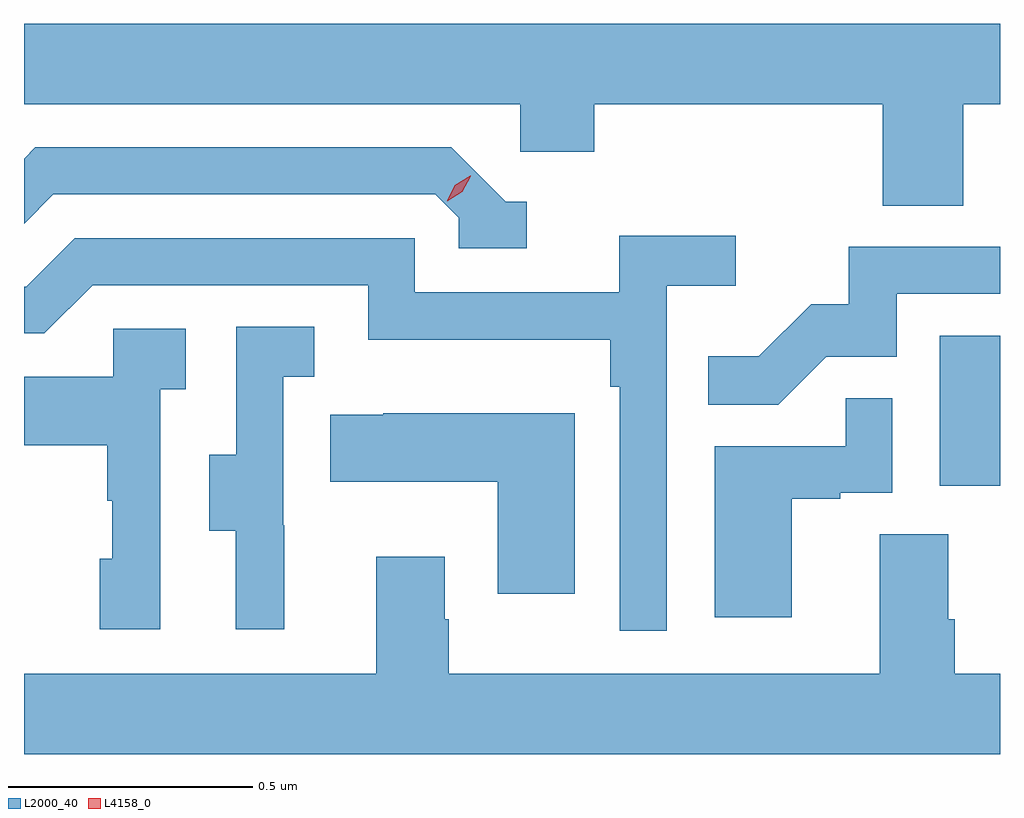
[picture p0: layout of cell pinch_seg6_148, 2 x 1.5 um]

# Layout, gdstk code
import gdstk
lib = gdstk.Library(unit=1e-6, precision=1e-09)
def R(c, l, rs):  # rectangles x0, y0, x1, y1
    for r in rs: c.add(gdstk.rectangle(r[:2], r[2:], *l))
def P(c, l, *ps):  # polygons
    for p in ps: c.add(gdstk.Polygon(p, *l))
L2000_40 = (2000, 40)
L4158_0 = (4158, 0)

pinch_seg6_148 = lib.new_cell('pinch_seg6_148')
R(pinch_seg6_148, L2000_40, [(985.652,918.582,985.775,918.889)])
P(pinch_seg6_148, L2000_40, [(985.7,919.364),(985.775,919.364),(985.775,919.528),(983.775,919.528),(983.775,919.364),(984.792,919.364),(984.792,919.266),(984.944,919.266),(984.944,919.364),(985.535,919.364),(985.535,919.156),(985.7,919.156)],
  [(984.805,919.164),(984.762,919.164),(984.651,919.275),(983.798,919.275),(983.775,919.252),(983.775,919.119),(983.835,919.179),(984.618,919.179),(984.666,919.131),(984.666,919.068),(984.805,919.068)],
  [(985.092,918.992),(985.234,918.992),(985.234,919.094),(984.995,919.094),(984.995,918.978),(984.576,918.978),(984.576,919.089),(983.879,919.089),(983.78,918.99),(983.775,918.99),(983.775,918.894),(983.817,918.894),(983.916,918.993),(984.48,918.993),(984.48,918.881),(984.976,918.881),(984.976,918.785),(984.996,918.785),(984.996,918.285),(985.092,918.285)],
  [(985.419,918.846),(985.563,918.846),(985.563,918.975),(985.775,918.975),(985.775,919.071),(985.465,919.071),(985.465,918.954),(985.388,918.954),(985.281,918.847),(985.177,918.847),(985.177,918.748),(985.321,918.748)],
  [(984.308,918.501),(984.306,918.501),(984.306,918.805),(984.37,918.805),(984.37,918.908),(984.21,918.908),(984.21,918.645),(984.155,918.645),(984.155,918.49),(984.209,918.49),(984.209,918.288),(984.308,918.288)],
  [(984.054,918.779),(984.106,918.779),(984.106,918.903),(983.958,918.903),(983.958,918.805),(983.775,918.805),(983.775,918.665),(983.946,918.665),(983.946,918.551),(983.956,918.551),(983.956,918.432),(983.93,918.432),(983.93,918.288),(984.054,918.288)],
  [(985.348,918.555),(985.448,918.555),(985.448,918.567),(985.554,918.567),(985.554,918.761),(985.459,918.761),(985.459,918.663),(985.19,918.663),(985.19,918.312),(985.348,918.312)],
  [(984.904,918.73),(984.511,918.73),(984.511,918.727),(984.403,918.727),(984.403,918.59),(984.746,918.59),(984.746,918.36),(984.904,918.36)],
  [(985.775,918.196),(985.682,918.196),(985.682,918.308),(985.669,918.308),(985.669,918.482),(985.529,918.482),(985.529,918.196),(984.645,918.196),(984.645,918.308),(984.637,918.308),(984.637,918.436),(984.497,918.436),(984.497,918.196),(983.775,918.196),(983.775,918.032),(985.775,918.032)])
P(pinch_seg6_148, L4158_0, [(984.642,919.165),(984.642,919.166),(984.658,919.198),(984.689,919.217),(984.69,919.217),(984.69,919.216),(984.673,919.184),(984.642,919.165)])

lib.write_gds('pinch_seg6_148.gds')
